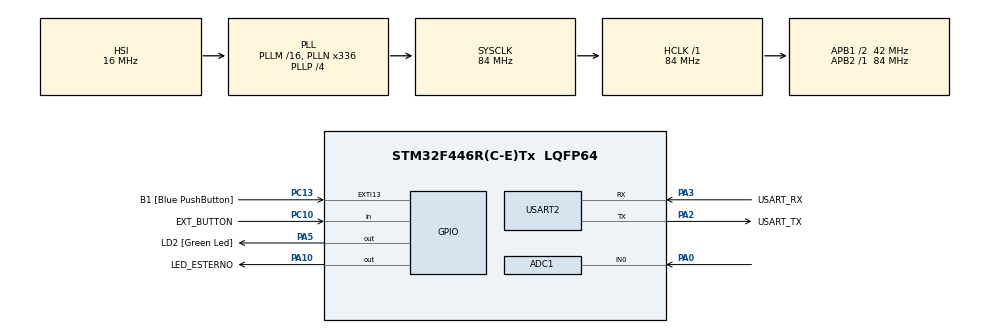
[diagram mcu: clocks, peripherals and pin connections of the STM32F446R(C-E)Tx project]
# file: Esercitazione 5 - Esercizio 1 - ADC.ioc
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Mcu.Family=STM32F4
PH0-OSC_IN.Signal=RCC_OSC_IN
RCC.CortexFreq_Value=84000000
PC10.GPIO_PuPd=GPIO_PULLUP
ADC1.ContinuousConvMode=DISABLE
PA10.GPIO_PuPd=GPIO_PULLUP
PC10.Signal=GPIO_Input
PA14.GPIO_Label=TCK
PC13.GPIO_Label=B1 [Blue PushButton]
RCC.SYSCLKSource=RCC_SYSCLKSOURCE_PLLCLK
ProjectManager.StackSize=0x400
NVIC.ADC_IRQn=true\:0\:0\:false\:false\:true\:true\:true
RCC.HCLKFreq_Value=84000000
RCC.APB2TimFreq_Value=84000000
RCC.AHBFreq_Value=84000000
PH0-OSC_IN.Mode=HSE-External-Oscillator
NVIC.EXTI15_10_IRQn=true\:0\:0\:false\:false\:true\:true\:true
ADC1.Channel-0\#ChannelRegularConversion=ADC_CHANNEL_0
RCC.HSE_VALUE=8000000
PC14-OSC32_IN.Mode=LSE-External-Oscillator
PA14.Mode=Serial_Wire
PA10.GPIO_Label=LED_ESTERNO
SH.ADCx_IN0.0=ADC1_IN0,IN0
ADC1.SamplingTime-0\#ChannelRegularConversion=ADC_SAMPLETIME_3CYCLES
RCC.FLatency-AdvancedSettings=FLASH_LATENCY_2
PH1-OSC_OUT.Mode=HSE-External-Oscillator
Mcu.Package=LQFP64
USART2.VirtualMode=VM_ASYNC
PA2.GPIO_Label=USART_TX
PA10.Signal=GPIO_Output
RCC.APB1TimFreq_Value=84000000
NVIC.RCC_IRQn=true\:0\:0\:false\:false\:true\:true\:false
PA3.Signal=USART2_RX
PB3.GPIO_Label=SWO
PC15-OSC32_OUT.Mode=LSE-External-Oscillator
ADC1.Rank-0\#ChannelRegularConversion=1
PC10.GPIO_Label=EXT_BUTTON
PC13.Signal=GPXTI13
RCC.APB1CLKDivider=RCC_HCLK_DIV2
PC14-OSC32_IN.Signal=RCC_OSC32_IN
PA0-WKUP.Signal=ADCx_IN0
PA13.Signal=SYS_JTMS-SWDIO
PA3.Mode=Asynchronous
ProjectManager.TargetToolchain=STM32CubeIDE
PA10.GPIO_ModeDefaultOutputPP=GPIO_MODE_OUTPUT_PP
RCC.USBFreq_Value=168000000
PC15-OSC32_OUT.Signal=RCC_OSC32_OUT
PA5.Signal=GPIO_Output
board=NUCLEO-F446RE
RCC.VCOOutputFreq_Value=336000000
RCC.APB2Freq_Value=84000000
PH1-OSC_OUT.Signal=RCC_OSC_OUT
PA13.Mode=Serial_Wire
Mcu.Name=STM32F446R(C-E)Tx
PA13.GPIO_Label=TMS
PA2.Signal=USART2_TX
RCC.48MHZClocksFreq_Value=84000000
PB3.Signal=SYS_JTDO-SWO
RCC.SYSCLKFreq_VALUE=84000000
ADC1.master=1
PA5.GPIO_Label=LD2 [Green Led]
PC13.GPIO_ModeDefaultEXTI=GPIO_MODE_IT_FALLING
PA14.Signal=SYS_JTCK-SWCLK
ProjectManager.HeapSize=0x200
RCC.HSI_VALUE=16000000
RCC.PLLP=RCC_PLLP_DIV4
NVIC.PriorityGroup=NVIC_PRIORITYGROUP_0
ADC1.NbrOfConversionFlag=1
RCC.PLLN=336
PA2.Mode=Asynchronous
RCC.APB1Freq_Value=42000000
PA3.GPIO_Label=USART_RX

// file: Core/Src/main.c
/* USER CODE BEGIN Header */
/**
  ******************************************************************************
  * @file           : main.c
  * @brief          : Main program body
  ******************************************************************************
  * @attention
  *
  * <h2><center>&copy; Copyright (c) 2021 STMicroelectronics.
  * All rights reserved.</center></h2>
  *
  * This software component is licensed by ST under BSD 3-Clause license,
  * the "License"; You may not use this file except in compliance with the
  * License. You may obtain a copy of the License at:
  *                        opensource.org/licenses/BSD-3-Clause
  *
  ******************************************************************************
  */
/* USER CODE END Header */
#include "main.h"

/* USER CODE BEGIN Includes */
#include "stdbool.h"
/* USER CODE END Includes */

ADC_HandleTypeDef hadc1;

UART_HandleTypeDef huart2;

/* USER CODE BEGIN PV */
// Variables
volatile uint16_t raw_in_pot;
float pot_value;
volatile int ext_button_pressed_flag = 0;
bool state = false;
float last_value = 0.0;
volatile float pot_value_to_ms;
/* USER CODE END PV */

void SystemClock_Config(void);
static void MX_GPIO_Init(void);
static void MX_USART2_UART_Init(void);
static void MX_ADC1_Init(void);

/* USER CODE BEGIN 0 */

// già definito in stm32f4xx_it.c
void EXTI15_10_IRQHandler(void){
	if((EXTI->PR >> 10) & 0x01){
	// equivalente a
	//if(EXTI->PR & (0x01 << 10)){
		NVIC_ClearPendingIRQ(EXTI15_10_IRQn);
		ext_button_pressed_flag = 1;
		EXTI->PR |= (0x01 >> 10); // Clear del pending request register
	}
}

// già definito in stm32f4xx_it.c
void ADC_IRQHandler(void) {
	HAL_ADC_IRQHandler(&hadc1);
	// Re-Start ADC in interrupt Mode
	HAL_ADC_Start_IT(&hadc1);
}

void HAL_ADC_ConvCpltCallback(ADC_HandleTypeDef* hadc) {
	// Read the analog input value
	raw_in_pot = HAL_ADC_GetValue(&hadc1);
	// Converts value in the 0-1 range
	pot_value = 1.0 - ((float)raw_in_pot / 4095);
	// Convert pot_value to millisecond
	pot_value_to_ms = (pot_value * 1000);
}

void blink(void);

/* USER CODE END 0 */

int main(void)
{

  /* MCU Configuration--------------------------------------------------------*/

  /* Reset of all peripherals, Initializes the Flash interface and the Systick. */
  HAL_Init();

  /* Configure the system clock */
  SystemClock_Config();

  /* Initialize all configured peripherals */
  MX_GPIO_Init();
  MX_USART2_UART_Init();
  MX_ADC1_Init();
  /* USER CODE BEGIN 2 */
  // Start ADC in interrupt Mode
  HAL_ADC_Start_IT(&hadc1);

  // --------------------- GESTIONE INTERRUPT -------------------
  SYSCFG->EXTICR[2] |= SYSCFG_EXTICR3_EXTI10_PC; //abilito interrupt.
  EXTI->IMR |= (0x01 << 10); // set interrupt non maskable sulla porta
  EXTI->RTSR |= (0x01 << 10); //set fronte di salita

  __enable_irq();

  /* USER CODE END 2 */

  /* Infinite loop */
  while (1)
  {

    /* USER CODE BEGIN 3 */
	  if(ext_button_pressed_flag == 1){
		  blink();
	  }

	  if(pot_value >= 0.95){
		  HAL_GPIO_WritePin(GPIOA, LED_ESTERNO_Pin, 0);
	  }else{
		  if(state == true){
			  HAL_GPIO_TogglePin(GPIOA, LED_ESTERNO_Pin);
			  HAL_Delay(last_value);
		  }
		  else{
			  HAL_GPIO_TogglePin(GPIOA, LED_ESTERNO_Pin);
			  HAL_Delay(pot_value_to_ms);
		  }
	  }
  }
  /* USER CODE END 3 */
}

void SystemClock_Config(void)
{
  RCC_OscInitTypeDef RCC_OscInitStruct = {0};
  RCC_ClkInitTypeDef RCC_ClkInitStruct = {0};

  /** Configure the main internal regulator output voltage
  */
  __HAL_RCC_PWR_CLK_ENABLE();
  __HAL_PWR_VOLTAGESCALING_CONFIG(PWR_REGULATOR_VOLTAGE_SCALE3);
  /** Initializes the RCC Oscillators according to the specified parameters
  * in the RCC_OscInitTypeDef structure.
  */
  RCC_OscInitStruct.OscillatorType = RCC_OSCILLATORTYPE_HSI;
  RCC_OscInitStruct.HSIState = RCC_HSI_ON;
  RCC_OscInitStruct.HSICalibrationValue = RCC_HSICALIBRATION_DEFAULT;
  RCC_OscInitStruct.PLL.PLLState = RCC_PLL_ON;
  RCC_OscInitStruct.PLL.PLLSource = RCC_PLLSOURCE_HSI;
  RCC_OscInitStruct.PLL.PLLM = 16;
  RCC_OscInitStruct.PLL.PLLN = 336;
  RCC_OscInitStruct.PLL.PLLP = RCC_PLLP_DIV4;
  RCC_OscInitStruct.PLL.PLLQ = 2;
  RCC_OscInitStruct.PLL.PLLR = 2;
  if (HAL_RCC_OscConfig(&RCC_OscInitStruct) != HAL_OK)
  {
    Error_Handler();
  }
  /** Initializes the CPU, AHB and APB buses clocks
  */
  RCC_ClkInitStruct.ClockType = RCC_CLOCKTYPE_HCLK|RCC_CLOCKTYPE_SYSCLK
                              |RCC_CLOCKTYPE_PCLK1|RCC_CLOCKTYPE_PCLK2;
  RCC_ClkInitStruct.SYSCLKSource = RCC_SYSCLKSOURCE_PLLCLK;
  RCC_ClkInitStruct.AHBCLKDivider = RCC_SYSCLK_DIV1;
  RCC_ClkInitStruct.APB1CLKDivider = RCC_HCLK_DIV2;
  RCC_ClkInitStruct.APB2CLKDivider = RCC_HCLK_DIV1;

  if (HAL_RCC_ClockConfig(&RCC_ClkInitStruct, FLASH_LATENCY_2) != HAL_OK)
  {
    Error_Handler();
  }
}

static void MX_ADC1_Init(void)
{

  ADC_ChannelConfTypeDef sConfig = {0};

  /** Configure the global features of the ADC (Clock, Resolution, Data Alignment and number of conversion)
  */
  hadc1.Instance = ADC1;
  hadc1.Init.ClockPrescaler = ADC_CLOCK_SYNC_PCLK_DIV4;
  hadc1.Init.Resolution = ADC_RESOLUTION_12B;
  hadc1.Init.ScanConvMode = DISABLE;
  hadc1.Init.ContinuousConvMode = DISABLE;
  hadc1.Init.DiscontinuousConvMode = DISABLE;
  hadc1.Init.ExternalTrigConvEdge = ADC_EXTERNALTRIGCONVEDGE_NONE;
  hadc1.Init.ExternalTrigConv = ADC_SOFTWARE_START;
  hadc1.Init.DataAlign = ADC_DATAALIGN_RIGHT;
  hadc1.Init.NbrOfConversion = 1;
  hadc1.Init.DMAContinuousRequests = DISABLE;
  hadc1.Init.EOCSelection = ADC_EOC_SINGLE_CONV;
  if (HAL_ADC_Init(&hadc1) != HAL_OK)
  {
    Error_Handler();
  }
  /** Configure for the selected ADC regular channel its corresponding rank in the sequencer and its sample time.
  */
  sConfig.Channel = ADC_CHANNEL_0;
  sConfig.Rank = 1;
  sConfig.SamplingTime = ADC_SAMPLETIME_3CYCLES;
  if (HAL_ADC_ConfigChannel(&hadc1, &sConfig) != HAL_OK)
  {
    Error_Handler();
  }

}

static void MX_USART2_UART_Init(void)
{

  huart2.Instance = USART2;
  huart2.Init.BaudRate = 115200;
  huart2.Init.WordLength = UART_WORDLENGTH_8B;
  huart2.Init.StopBits = UART_STOPBITS_1;
  huart2.Init.Parity = UART_PARITY_NONE;
  huart2.Init.Mode = UART_MODE_TX_RX;
  huart2.Init.HwFlowCtl = UART_HWCONTROL_NONE;
  huart2.Init.OverSampling = UART_OVERSAMPLING_16;
  if (HAL_UART_Init(&huart2) != HAL_OK)
  {
    Error_Handler();
  }

}

static void MX_GPIO_Init(void)
{
  GPIO_InitTypeDef GPIO_InitStruct = {0};

  /* GPIO Ports Clock Enable */
  __HAL_RCC_GPIOC_CLK_ENABLE();
  __HAL_RCC_GPIOH_CLK_ENABLE();
  __HAL_RCC_GPIOA_CLK_ENABLE();
  __HAL_RCC_GPIOB_CLK_ENABLE();

  /*Configure GPIO pin Output Level */
  HAL_GPIO_WritePin(GPIOA, LD2_Pin|LED_ESTERNO_Pin, GPIO_PIN_RESET);

  /*Configure GPIO pin : B1_Pin */
  GPIO_InitStruct.Pin = B1_Pin;
  GPIO_InitStruct.Mode = GPIO_MODE_IT_FALLING;
  GPIO_InitStruct.Pull = GPIO_NOPULL;
  HAL_GPIO_Init(B1_GPIO_Port, &GPIO_InitStruct);

  /*Configure GPIO pin : LD2_Pin */
  GPIO_InitStruct.Pin = LD2_Pin;
  GPIO_InitStruct.Mode = GPIO_MODE_OUTPUT_PP;
  GPIO_InitStruct.Pull = GPIO_NOPULL;
  GPIO_InitStruct.Speed = GPIO_SPEED_FREQ_LOW;
  HAL_GPIO_Init(LD2_GPIO_Port, &GPIO_InitStruct);

  /*Configure GPIO pin : LED_ESTERNO_Pin */
  GPIO_InitStruct.Pin = LED_ESTERNO_Pin;
  GPIO_InitStruct.Mode = GPIO_MODE_OUTPUT_PP;
  GPIO_InitStruct.Pull = GPIO_PULLUP;
  GPIO_InitStruct.Speed = GPIO_SPEED_FREQ_LOW;
  HAL_GPIO_Init(LED_ESTERNO_GPIO_Port, &GPIO_InitStruct);

  /*Configure GPIO pin : EXT_BUTTON_Pin */
  GPIO_InitStruct.Pin = EXT_BUTTON_Pin;
  GPIO_InitStruct.Mode = GPIO_MODE_INPUT;
  GPIO_InitStruct.Pull = GPIO_PULLUP;
  HAL_GPIO_Init(EXT_BUTTON_GPIO_Port, &GPIO_InitStruct);

  /* EXTI interrupt init*/
  HAL_NVIC_SetPriority(EXTI15_10_IRQn, 0, 0);
  HAL_NVIC_EnableIRQ(EXTI15_10_IRQn);

}

/* USER CODE BEGIN 4 */
void blink(void){
	state = !state;
	last_value = pot_value_to_ms;
	ext_button_pressed_flag = 0;
}

/* USER CODE END 4 */

void Error_Handler(void)
{
  __disable_irq();
  while (1)
  {
  }
}

/************************ (C) COPYRIGHT STMicroelectronics *****END OF FILE****/
